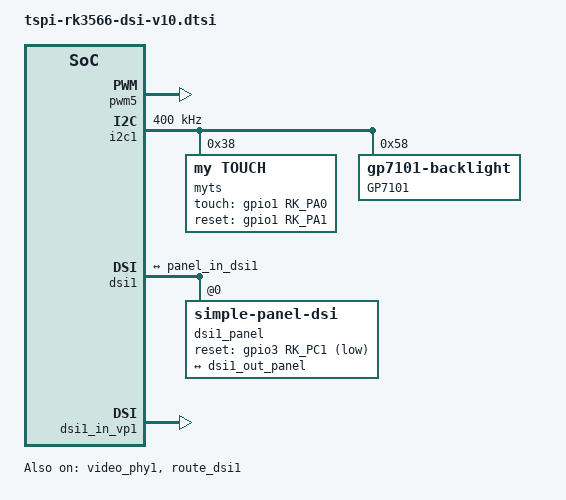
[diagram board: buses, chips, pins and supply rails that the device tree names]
// SPDX-License-Identifier: (GPL-2.0+ OR MIT)
/*
 * Copyright (c) 2020 Rockchip Electronics Co., Ltd.
 *
 */

/ {
	/*backlight: backlight {
		compatible = "pwm-backlight";
		pwms = <&pwm5 0 25000 0>;
		brightness-levels = <
			  0  20  20  21  21  22  22  23
			 23  24  24  25  25  26  26  27
			 27  28  28  29  29  30  30  31
			 31  32  32  33  33  34  34  35
			 35  36  36  37  37  38  38  39
			 40  41  42  43  44  45  46  47
			 48  49  50  51  52  53  54  55
			 56  57  58  59  60  61  62  63
			 64  65  66  67  68  69  70  71
			 72  73  74  75  76  77  78  79
			 80  81  82  83  84  85  86  87
			 88  89  90  91  92  93  94  95
			 96  97  98  99 100 101 102 103
			104 105 106 107 108 109 110 111
			112 113 114 115 116 117 118 119
			120 121 122 123 124 125 126 127
			128 129 130 131 132 133 134 135
			136 137 138 139 140 141 142 143
			144 145 146 147 148 149 150 151
			152 153 154 155 156 157 158 159
			160 161 162 163 164 165 166 167
			168 169 170 171 172 173 174 175
			176 177 178 179 180 181 182 183
			184 185 186 187 188 189 190 191
			192 193 194 195 196 197 198 199
			200 201 202 203 204 205 206 207
			208 209 210 211 212 213 214 215
			216 217 218 219 220 221 222 223
			224 225 226 227 228 229 230 231
			232 233 234 235 236 237 238 239
			240 241 242 243 244 245 246 247
			248 249 250 251 252 253 254 255
		>;
		default-brightness-level = <255>;
	}; */
};

&pwm5 {
	status = "okay";
};

// &i2c1 {
// 	status = "okay";
// 	ts@5d {
// 		compatible = "goodix,gt9xx";
// 		reg = <0x5d>;
// 		tp-size = <89>;
// 		max-x = <1280>;
// 		max-y = <800>;
// 		touch-gpio = <&gpio1 RK_PA0 IRQ_TYPE_LEVEL_LOW>;
// 		reset-gpio = <&gpio1 RK_PA1 IRQ_TYPE_LEVEL_LOW>;
// 	};
// };
&i2c1 {
	status = "okay";             // 表示这个i2c1设备是可用的
    clock-frequency = <400000>;  // 设置i2c1的时钟频率为400kHz
    myts@38 {                    // 定义一个i2c设备，设备地址为0x38，设备名称为myts
        compatible = "my,touch"; // 表示这个设备是触摸屏设备，驱动名称为my,touch
        reg = <0x38>;            // i2c设备地址
        tp-size = <89>;          // 触摸屏的大小
        max-x = <480>;           // 触摸屏支持的最大X坐标值
        max-y = <800>;           // 触摸屏支持的最大Y坐标值
        touch-gpio = <&gpio1 RK_PA0 IRQ_TYPE_LEVEL_LOW>; // 触摸屏的触摸中断引脚，连接到gpio1的第0个引脚，触发方式为低电平触发
        reset-gpio = <&gpio1 RK_PA1 GPIO_ACTIVE_HIGH>;   // 触摸屏的复位引脚，连接到gpio1的第1个引脚，有效电平为高电平
    };

	GP7101@58 {      // 定义一个子节点，名字为GP7101，地址为58
		compatible = "gp7101-backlight";   // 该节点与"gp7101-backlight"兼容
		reg = <0x58>;                      // GP7101地址0x58
		max-brightness-levels = <255>;     // 背光亮度的最大级别是255
		default-brightness-level = <100>;  // 默认的背光亮度级别是100
	};
};

&pinctrl {
	dsi1 {
		dsi1_rst_gpio: dsi1-rst-gpio {
			rockchip,pins = <3 RK_PC1 RK_FUNC_GPIO &pcfg_pull_none>;
		};
		touch_gpio: touch-gpio {
			rockchip,pins = <1 RK_PA0 RK_FUNC_GPIO &pcfg_pull_up>;
		};
	};
};

/*
 * video_phy1 needs to be enabled
 * when dsi1 is enabled
 */
&dsi1 {
	status = "okay";
};

&dsi1_in_vp0 {
	status = "disabled";
};

&dsi1_in_vp1 {
	status = "okay";
};

&video_phy1 {
	status = "okay";
};

&route_dsi1 {
	status = "okay";//wucaicheng mipi okay
	connect = <&vp1_out_dsi1>;
};

/************************************************************************************************************************************************
10寸晶尚
默认 8寸800x1280
************************************************************************************************************************************************/
// &dsi1 {
// 	status = "okay";
// 	rockchip,lane-rate = <480>;
// 	dsi1_panel: panel@0 {
// 		status = "okay";
// 		compatible = "simple-panel-dsi";
// 		reset-gpios = <&gpio3 RK_PC1 GPIO_ACTIVE_LOW>;
// 		pinctrl-names = "default";
// 		pinctrl-0 = <&dsi1_rst_gpio>;
// 		reg = <0>;
// 		backlight = <&backlight>;
// 		reset-delay-ms = <10>;
// 		enable-delay-ms = <120>;
// 		prepare-delay-ms = <20>;
// 		unprepare-delay-ms = <20>;
// 		disable-delay-ms = <50>;
// 		dsi,flags = <(MIPI_DSI_MODE_VIDEO | MIPI_DSI_MODE_VIDEO_BURST |
// 			MIPI_DSI_MODE_LPM | MIPI_DSI_MODE_EOT_PACKET)>;
// 		dsi,format = <MIPI_DSI_FMT_RGB888>;
// 		dsi,lanes  = <4>;
// 		panel-init-sequence = [
// 			15 00 02 E0 00
// 			15 00 02 E1 93
// 			15 00 02 E2 65
// 			15 00 02 E3 F8
// 			15 00 02 80 03
// 			15 00 02 E0 01
// 			15 00 02 00 00
// 			15 00 02 01 3C
// 			15 00 02 03 10
// 			15 00 02 04 38
// 			15 00 02 0C 74
// 			15 00 02 17 00
// 			15 00 02 18 E7
// 			15 00 02 19 01
// 			15 00 02 1A 00
// 			15 00 02 1B E7
// 			15 00 02 1C 01
// 			15 00 02 24 FE
// 			15 00 02 35 23
// 			15 00 02 37 09
// 			15 00 02 38 04
// 			15 00 02 39 00
// 			15 00 02 3A 01
// 			15 00 02 3C 70
// 			15 00 02 3D FF
// 			15 00 02 3E FF
// 			15 00 02 3F 7F
// 			15 00 02 40 06
// 			15 00 02 41 A0
// 			15 00 02 43 1E
// 			15 00 02 44 0B
// 			15 00 02 45 28
// 			15 00 02 55 02
// 			15 00 02 57 A9
// 			15 00 02 59 0A
// 			15 00 02 5A 2D
// 			15 00 02 5B 19
// 			15 00 02 5C 15
// 			15 00 02 5D 7F
// 			15 00 02 5E 6E
// 			15 00 02 5F 5F
// 			15 00 02 60 53
// 			15 00 02 61 50
// 			15 00 02 62 41
// 			15 00 02 63 44
// 			15 00 02 64 2C
// 			15 00 02 65 44
// 			15 00 02 66 42
// 			15 00 02 67 40
// 			15 00 02 68 5B
// 			15 00 02 69 45
// 			15 00 02 6A 48
// 			15 00 02 6B 38
// 			15 00 02 6C 32
// 			15 00 02 6D 25
// 			15 00 02 6E 14
// 			15 00 02 6F 08
// 			15 00 02 70 7F
// 			15 00 02 71 6E
// 			15 00 02 72 5F
// 			15 00 02 73 53
// 			15 00 02 74 50
// 			15 00 02 75 41
// 			15 00 02 76 44
// 			15 00 02 77 2C
// 			15 00 02 78 44
// 			15 00 02 79 42
// 			15 00 02 7A 40
// 			15 00 02 7B 5B
// 			15 00 02 7C 45
// 			15 00 02 7D 48
// 			15 00 02 7E 38
// 			15 00 02 7F 32
// 			15 00 02 80 25
// 			15 00 02 81 14
// 			15 00 02 82 08
// 			15 00 02 E0 02
// 			15 00 02 00 50
// 			15 00 02 01 5F
// 			15 00 02 02 5F
// 			15 00 02 03 52
// 			15 00 02 04 77
// 			15 00 02 05 57
// 			15 00 02 06 5F
// 			15 00 02 07 4E
// 			15 00 02 08 4C
// 			15 00 02 09 5F
// 			15 00 02 0A 4A
// 			15 00 02 0B 48
// 			15 00 02 0C 5F
// 			15 00 02 0D 46
// 			15 00 02 0E 44
// 			15 00 02 0F 40
// 			15 00 02 10 5F
// 			15 00 02 11 5F
// 			15 00 02 12 5F
// 			15 00 02 13 5F
// 			15 00 02 14 5F
// 			15 00 02 15 5F
// 			15 00 02 16 51
// 			15 00 02 17 5F
// 			15 00 02 18 5F
// 			15 00 02 19 53
// 			15 00 02 1A 77
// 			15 00 02 1B 57
// 			15 00 02 1C 5F
// 			15 00 02 1D 4F
// 			15 00 02 1E 4D
// 			15 00 02 1F 5F
// 			15 00 02 20 4B
// 			15 00 02 21 49
// 			15 00 02 22 5F
// 			15 00 02 23 47
// 			15 00 02 24 45
// 			15 00 02 25 41
// 			15 00 02 26 5F
// 			15 00 02 27 5F
// 			15 00 02 28 5F
// 			15 00 02 29 5F
// 			15 00 02 2A 5F
// 			15 00 02 2B 5F
// 			15 00 02 2C 01
// 			15 00 02 2D 1F
// 			15 00 02 2E 1F
// 			15 00 02 2F 13
// 			15 00 02 30 17
// 			15 00 02 31 17
// 			15 00 02 32 1F
// 			15 00 02 33 0D
// 			15 00 02 34 0F
// 			15 00 02 35 1F
// 			15 00 02 36 05
// 			15 00 02 37 07
// 			15 00 02 38 1F
// 			15 00 02 39 09
// 			15 00 02 3A 0B
// 			15 00 02 3B 11
// 			15 00 02 3C 1F
// 			15 00 02 3D 1F
// 			15 00 02 3E 1F
// 			15 00 02 3F 1F
// 			15 00 02 40 1F
// 			15 00 02 41 1F
// 			15 00 02 42 00
// 			15 00 02 43 1F
// 			15 00 02 44 1F
// 			15 00 02 45 12
// 			15 00 02 46 17
// 			15 00 02 47 17
// 			15 00 02 48 1F
// 			15 00 02 49 0C
// 			15 00 02 4A 0E
// 			15 00 02 4B 1F
// 			15 00 02 4C 04
// 			15 00 02 4D 06
// 			15 00 02 4E 1F
// 			15 00 02 4F 08
// 			15 00 02 50 0A
// 			15 00 02 51 10
// 			15 00 02 52 1F
// 			15 00 02 53 1F
// 			15 00 02 54 1F
// 			15 00 02 55 1F
// 			15 00 02 56 1F
// 			15 00 02 57 1F
// 			15 00 02 58 40
// 			15 00 02 5B 10
// 			15 00 02 5C 06
// 			15 00 02 5D 40
// 			15 00 02 5E 00
// 			15 00 02 5F 00
// 			15 00 02 60 40
// 			15 00 02 61 03
// 			15 00 02 62 04
// 			15 00 02 63 6C
// 			15 00 02 64 6C
// 			15 00 02 65 75
// 			15 00 02 66 08
// 			15 00 02 67 B4
// 			15 00 02 68 08
// 			15 00 02 69 6C
// 			15 00 02 6A 6C
// 			15 00 02 6B 0C
// 			15 00 02 6D 00
// 			15 00 02 6E 00
// 			15 00 02 6F 88
// 			15 00 02 75 BB
// 			15 00 02 76 00
// 			15 00 02 77 05
// 			15 00 02 78 2A
// 			15 00 02 E0 04
// 			15 00 02 00 0E
// 			15 00 02 02 B3
// 			15 00 02 09 60
// 			15 00 02 0E 48
// 			15 00 02 E0 00
// 			05 fa 01 11
// 			05 32 01 29
// 		];

// 		panel-exit-sequence = [
// 			05 00 01 28
// 			05 00 01 10
// 		];

// 		disp_timings1: display-timings {
// 			native-mode = <&dsi1_timing0>;
// 			dsi1_timing0: timing0 {
// 				clock-frequency = <66000000>;
// 				hactive = <800>;
// 				vactive = <1280>;
// 				hfront-porch = <18>;
// 				hsync-len = <12>;
// 				hback-porch = <18>;
// 				vfront-porch = <24>;
// 				vsync-len = <4>;
// 				vback-porch = <12>;
// 				hsync-active = <0>;
// 				vsync-active = <0>;
// 				de-active = <0>;
// 				pixelclk-active = <1>;
// 			};
// 		};

// 		ports {
// 			#address-cells = <1>;
// 			#size-cells = <0>;

// 			port@0 {
// 				reg = <0>;
// 				panel_in_dsi1: endpoint {
// 					remote-endpoint = <&dsi1_out_panel>;
// 				};
// 			};
// 		};
// 	};

// 	ports {
// 		#address-cells = <1>;
// 		#size-cells = <0>;

// 		port@1 {
// 			reg = <1>;
// 			dsi1_out_panel: endpoint {
// 				remote-endpoint = <&panel_in_dsi1>;
// 			};
// 		};
// 	};

// };

/************************************************************************************************************************************************
10寸晶尚
默认 10.1寸1200x1920
************************************************************************************************************************************************/
// &dsi1 {
// 	status = "okay";
// 	rockchip,lane-rate = <1000>;
// 	dsi1_panel: panel@0 {
// 		status = "okay";
// 		compatible = "simple-panel-dsi";
// 		reset-gpios = <&gpio3 RK_PC1 GPIO_ACTIVE_LOW>;
// 		pinctrl-names = "default";
// 		pinctrl-0 = <&dsi1_rst_gpio>;
// 		reg = <0>;
// 		backlight = <&backlight>;
// 		reset-delay-ms = <100>;
// 		enable-delay-ms = <120>;
// 		prepare-delay-ms = <20>;
// 		unprepare-delay-ms = <20>;
// 		disable-delay-ms = <100>;
// 		dsi,flags = <(MIPI_DSI_MODE_VIDEO | MIPI_DSI_MODE_VIDEO_BURST |
// 			MIPI_DSI_MODE_LPM | MIPI_DSI_MODE_EOT_PACKET)>;
// 		dsi,format = <MIPI_DSI_FMT_RGB888>;
// 		dsi,lanes  = <4>;
// 		panel-init-sequence = [
// 			15 00 02 B0 01
// 			15 00 02 C3 4F
// 			15 00 02 C4 40
// 			15 00 02 C5 40
// 			15 00 02 C6 40
// 			15 00 02 C7 40
// 			15 00 02 C8 4D
// 			15 00 02 C9 52
// 			15 00 02 CA 51
// 			15 00 02 CD 5D
// 			15 00 02 CE 5B
// 			15 00 02 CF 4B
// 			15 00 02 D0 49
// 			15 00 02 D1 47
// 			15 00 02 D2 45
// 			15 00 02 D3 41
// 			15 00 02 D7 50
// 			15 00 02 D8 40
// 			15 00 02 D9 40
// 			15 00 02 DA 40
// 			15 00 02 DB 40
// 			15 00 02 DC 4E
// 			15 00 02 DD 52
// 			15 00 02 DE 51
// 			15 00 02 E1 5E
// 			15 00 02 E2 5C
// 			15 00 02 E3 4C
// 			15 00 02 E4 4A
// 			15 00 02 E5 48
// 			15 00 02 E6 46
// 			15 00 02 E7 42
// 			15 00 02 B0 03
// 			15 00 02 BE 03
// 			15 00 02 CC 44
// 			15 00 02 C8 07
// 			15 00 02 C9 05
// 			15 00 02 CA 42
// 			15 00 02 CD 3E
// 			15 00 02 CF 60
// 			15 00 02 D2 04
// 			15 00 02 D3 04
// 			15 00 02 D4 01
// 			15 00 02 D5 00
// 			15 00 02 D6 03
// 			15 00 02 D7 04
// 			15 00 02 D9 01
// 			15 00 02 DB 01
// 			15 00 02 E4 F0
// 			15 00 02 E5 0A
// 			15 00 02 B0 00
// 			15 00 02 B1 08
// 			15 00 02 BD 54
// 			15 00 02 C2 06
// 			15 00 02 C4 0B
// 			15 00 02 B0 02
// 			15 00 02 C0 00
// 			15 00 02 C1 0A
// 			15 00 02 C2 20
// 			15 00 02 C3 24
// 			15 00 02 C4 23
// 			15 00 02 C5 29
// 			15 00 02 C6 23
// 			15 00 02 C7 1C
// 			15 00 02 C8 19
// 			15 00 02 C9 17
// 			15 00 02 CA 17
// 			15 00 02 CB 18
// 			15 00 02 CC 1A
// 			15 00 02 CD 1E
// 			15 00 02 CE 20
// 			15 00 02 CF 23
// 			15 00 02 D0 07
// 			15 00 02 D1 00
// 			15 00 02 D2 00
// 			15 00 02 D3 0A
// 			15 00 02 D4 13
// 			15 00 02 D5 1C
// 			15 00 02 D6 1A
// 			15 00 02 D7 13
// 			15 00 02 D8 17
// 			15 00 02 D9 1C
// 			15 00 02 DA 19
// 			15 00 02 DB 17
// 			15 00 02 DC 17
// 			15 00 02 DD 18
// 			15 00 02 DE 1A
// 			15 00 02 DF 1E
// 			15 00 02 E0 20
// 			15 00 02 E1 23
// 			15 00 02 E2 07
// 			05 78 01 11
// 			05 14 01 29
// 		];

// 		panel-exit-sequence = [
// 			05 00 01 28
// 			05 00 01 10
// 		];

// 		disp_timings1: display-timings {
// 			native-mode = <&dsi1_timing0>;
// 			dsi1_timing0: timing0 {
// 				clock-frequency = <156000000>;
// 				hactive = <1200 >;
// 				vactive = <1920>;
// 				hfront-porch = <42>;
// 				hsync-len = <10>;
// 				hback-porch = <32>;
// 				vfront-porch = <35>;
// 				vsync-len = <4>;
// 				vback-porch = <30>;
// 				hsync-active = <0>;
// 				vsync-active = <0>;
// 				de-active = <0>;
// 				pixelclk-active = <0>;
// 			};
// 		};

// 		ports {
// 			#address-cells = <1>;
// 			#size-cells = <0>;

// 			port@0 {
// 				reg = <0>;
// 				panel_in_dsi1: endpoint {
// 					remote-endpoint = <&dsi1_out_panel>;
// 				};
// 			};
// 		};
// 	};

// 	ports {
// 		#address-cells = <1>;
// 		#size-cells = <0>;

// 		port@1 {
// 			reg = <1>;
// 			dsi1_out_panel: endpoint {
// 				remote-endpoint = <&panel_in_dsi1>;
// 			};
// 		};
// 	};

// };

// /************************************************************************************************************************************************
// 10寸晶尚
// 默认 8寸800x1280
// ************************************************************************************************************************************************/
// &dsi1 {
// 	status = "okay";
// 	rockchip,lane-rate = <500>;
// 	dsi1_panel: panel@0 {
// 		status = "okay";
// 		compatible = "simple-panel-dsi";
// 		reset-gpios = <&gpio3 RK_PC1 GPIO_ACTIVE_LOW>;
// 		pinctrl-names = "default";
// 		pinctrl-0 = <&dsi1_rst_gpio>;
// 		reg = <0>;
// 		backlight = <&backlight>;
// 		reset-delay-ms = <30>;
// 		enable-delay-ms = <100>;
// 		prepare-delay-ms = <20>;
// 		unprepare-delay-ms = <20>;
// 		disable-delay-ms = <20>;
// 		init-delay-ms = <10>;
// 		dsi,flags = <(MIPI_DSI_MODE_VIDEO | MIPI_DSI_MODE_VIDEO_BURST |
// 			MIPI_DSI_MODE_LPM | MIPI_DSI_MODE_EOT_PACKET)>;
// 		dsi,format = <MIPI_DSI_FMT_RGB888>;
// 		dsi,lanes  = <4>;
// 		panel-init-sequence = [
// 			39 00 04 FF 98 81 03
// 			15 00 02 01 00
// 			15 00 02 02 00
// 			15 00 02 03 53    
// 			15 00 02 04 53    
// 			15 00 02 05 13
// 			15 00 02 06 04
// 			15 00 02 07 02
// 			15 00 02 08 02
// 			15 00 02 09 00
// 			15 00 02 0a 00
// 			15 00 02 0b 00
// 			15 00 02 0c 00
// 			15 00 02 0d 00
// 			15 00 02 0e 00
// 			15 00 02 0f 00
// 			15 00 02 10 00
// 			15 00 02 11 00
// 			15 00 02 12 00
// 			15 00 02 13 00
// 			15 00 02 14 00
// 			15 00 02 15 00
// 			15 00 02 16 00
// 			15 00 02 17 00
// 			15 00 02 18 00
// 			15 00 02 19 00
// 			15 00 02 1a 00
// 			15 00 02 1b 00
// 			15 00 02 1c 00
// 			15 00 02 1d 00
// 			15 00 02 1e c0
// 			15 00 02 1f 00
// 			15 00 02 20 02
// 			15 00 02 21 09
// 			15 00 02 22 00
// 			15 00 02 23 00
// 			15 00 02 24 00
// 			15 00 02 25 00
// 			15 00 02 26 00
// 			15 00 02 27 00
// 			15 00 02 28 55
// 			15 00 02 29 03
// 			15 00 02 2a 00
// 			15 00 02 2b 00
// 			15 00 02 2c 00
// 			15 00 02 2d 00
// 			15 00 02 2e 00
// 			15 00 02 2f 00
// 			15 00 02 30 00
// 			15 00 02 31 00
// 			15 00 02 32 00
// 			15 00 02 33 00
// 			15 00 02 34 00
// 			15 00 02 35 00
// 			15 00 02 36 00
// 			15 00 02 37 00
// 			15 00 02 38 3C
// 			15 00 02 39 00
// 			15 00 02 3a 00
// 			15 00 02 3b 00
// 			15 00 02 3c 00
// 			15 00 02 3d 00
// 			15 00 02 3e 00
// 			15 00 02 3f 00
// 			15 00 02 40 00
// 			15 00 02 41 00
// 			15 00 02 42 00
// 			15 00 02 43 00
// 			15 00 02 44 00
			
// 			15 00 02 50 01
// 			15 00 02 51 23
// 			15 00 02 52 45
// 			15 00 02 53 67
// 			15 00 02 54 89
// 			15 00 02 55 ab
// 			15 00 02 56 01
// 			15 00 02 57 23
// 			15 00 02 58 45
// 			15 00 02 59 67
// 			15 00 02 5a 89
// 			15 00 02 5b ab
// 			15 00 02 5c cd
// 			15 00 02 5d ef

// 			15 00 02 5e 01
// 			15 00 02 5f 0A    
// 			15 00 02 60 02    
// 			15 00 02 61 02    
// 			15 00 02 62 08    
// 			15 00 02 63 15    
// 			15 00 02 64 14    
// 			15 00 02 65 02    
// 			15 00 02 66 11    
// 			15 00 02 67 10    
// 			15 00 02 68 02    
// 			15 00 02 69 0F    
// 			15 00 02 6a 0E    
// 			15 00 02 6b 02    
// 			15 00 02 6c 0D    
// 			15 00 02 6d 0C    
// 			15 00 02 6e 06    
// 			15 00 02 6f 02    
// 			15 00 02 70 02    
// 			15 00 02 71 02    
// 			15 00 02 72 02    
// 			15 00 02 73 02    
// 			15 00 02 74 02    
			
// 			15 00 02 75 0A    
// 			15 00 02 76 02    
// 			15 00 02 77 02    
// 			15 00 02 78 06    
// 			15 00 02 79 15    
// 			15 00 02 7a 14    
// 			15 00 02 7b 02    
// 			15 00 02 7c 10    
// 			15 00 02 7d 11    
// 			15 00 02 7e 02    
// 			15 00 02 7f 0C    
// 			15 00 02 80 0D    
// 			15 00 02 81 02    
// 			15 00 02 82 0E    
// 			15 00 02 83 0F    
// 			15 00 02 84 08    
// 			15 00 02 85 02    
// 			15 00 02 86 02    
// 			15 00 02 87 02    
// 			15 00 02 88 02    
// 			15 00 02 89 02    
// 			15 00 02 8A 02    


// 			39 00 04 FF 98 81 04
// 			//15 00 02 00 00  //
// 			// 15 00 02 2F 01   //bist 用户调试，屏幕会闪演示测试
// 			15 00 02 3B C0  
// 			15 00 02 6C 15
// 			15 00 02 6E 30  
// 			15 00 02 6F 55  
// 			15 00 02 3A 24
// 			15 00 02 8D 1F
// 			15 00 02 87 BA
// 			15 00 02 26 76
// 			15 00 02 B2 D1
// 			15 00 02 B5 07
// 			15 00 02 35 1F
// 			15 00 02 88 0B
// 			15 00 02 21 09


// 			39 00 04 FF 98 81 01
// 			15 00 02 22 0A
// 			15 00 02 31 09
// 			15 00 02 40 33
// 			15 00 02 53 37
// 			15 00 02 55 38
// 			15 00 02 50 95
// 			15 00 02 51 95
// 			15 00 02 60 30

// 			15 00 02 A0 0F        
// 			15 00 02 A1 17        
// 			15 00 02 A2 22        
// 			15 00 02 A3 19        
// 			15 00 02 A4 15        
// 			15 00 02 A5 28        
// 			15 00 02 A6 1C        
// 			15 00 02 A7 1C        
// 			15 00 02 A8 78        
// 			15 00 02 A9 1C        
// 			15 00 02 AA 28        
// 			15 00 02 AB 69        
// 			15 00 02 AC 1A        
// 			15 00 02 AD 19        
// 			15 00 02 AE 4B        
// 			15 00 02 AF 22        
// 			15 00 02 B0 2A        
// 			15 00 02 B1 4B        
// 			15 00 02 B2 6B        
// 			15 00 02 B3 3F        

// 			15 00 02 C0 01        
// 			15 00 02 C1 17        
// 			15 00 02 C2 22        
// 			15 00 02 C3 19        
// 			15 00 02 C4 15        
// 			15 00 02 C5 28        
// 			15 00 02 C6 1C        
// 			15 00 02 C7 1D        
// 			15 00 02 C8 78        
// 			15 00 02 C9 1C        
// 			15 00 02 CA 28        
// 			15 00 02 CB 69        
// 			15 00 02 CC 1A        
// 			15 00 02 CD 19        
// 			15 00 02 CE 4B        
// 			15 00 02 CF 22        
// 			15 00 02 D0 2A        
// 			15 00 02 D1 4B        
// 			15 00 02 D2 6B        
// 			15 00 02 D3 3F        
// 			39 00 04 FF 98 81 00		
// 			05 78 01 11
// 			05 14 01 29
// 		];

// 		panel-exit-sequence = [
// 			05 00 01 28
// 			05 00 01 10
// 		];

// 		disp_timings1: display-timings {
// 			native-mode = <&dsi1_timing0>;
// 			dsi1_timing0: timing0 {
// 				clock-frequency = <71000000>;
// 				hactive = <800>;
// 				vactive = <1280>;
// 				hfront-porch = <52>;
// 				hsync-len = <8>;
// 				hback-porch = <48>;
// 				vfront-porch = <15>;
// 				vsync-len = <6>;
// 				vback-porch = <16>;
// 				hsync-active = <0>;
// 				vsync-active = <0>;
// 				de-active = <0>;
// 				pixelclk-active = <0>;
// 			};
// 		};

// 		ports {
// 			#address-cells = <1>;
// 			#size-cells = <0>;

// 			port@0 {
// 				reg = <0>;
// 				panel_in_dsi1: endpoint {
// 					remote-endpoint = <&dsi1_out_panel>;
// 				};
// 			};
// 		};
// 	};

// 	ports {
// 		#address-cells = <1>;
// 		#size-cells = <0>;

// 		port@1 {
// 			reg = <1>;
// 			dsi1_out_panel: endpoint {
// 				remote-endpoint = <&panel_in_dsi1>;
// 			};
// 		};
// 	};

// };

// /************************************************************************************************************************************************
// 贝力佳屏幕
// 默认 8寸800x1280
// ************************************************************************************************************************************************/
// &dsi1 {
// 	status = "okay";
// 	rockchip,lane-rate = <500>;
// 	dsi1_panel: panel@0 {
// 		status = "okay";
// 		compatible = "simple-panel-dsi";
// 		reset-gpios = <&gpio3 RK_PC1 GPIO_ACTIVE_LOW>;
// 		pinctrl-names = "default";
// 		pinctrl-0 = <&dsi1_rst_gpio>;
// 		reg = <0>;
// 		backlight = <&backlight>;
// 		reset-delay-ms = <30>;
// 		enable-delay-ms = <100>;
// 		prepare-delay-ms = <20>;
// 		unprepare-delay-ms = <20>;
// 		disable-delay-ms = <20>;
// 		init-delay-ms = <10>;
// 		dsi,flags = <(MIPI_DSI_MODE_VIDEO | MIPI_DSI_MODE_VIDEO_BURST |
// 			MIPI_DSI_MODE_LPM | MIPI_DSI_MODE_EOT_PACKET)>;
// 		dsi,format = <MIPI_DSI_FMT_RGB888>;
// 		dsi,lanes  = <4>;
// 		panel-init-sequence = [
// 			39 00 04 FF 98 81 03     
// 			15 00 02 01 00
// 			15 00 02 02 00
// 			15 00 02 03 53
// 			15 00 02 04 13
// 			15 00 02 05 00
// 			15 00 02 06 04
// 			15 00 02 07 00
// 			15 00 02 08 00
// 			15 00 02 09 22
// 			15 00 02 0a 22
// 			15 00 02 0b 00
// 			15 00 02 0c 01
// 			15 00 02 0d 00
// 			15 00 02 0e 00
// 			15 00 02 0f 25
// 			15 00 02 10 25
// 			15 00 02 11 00
// 			15 00 02 12 00
// 			15 00 02 13 00
// 			15 00 02 14 00
// 			15 00 02 15 00
// 			15 00 02 16 00
// 			15 00 02 17 00
// 			15 00 02 18 00
// 			15 00 02 19 00
// 			15 00 02 1a 00
// 			15 00 02 1b 00
// 			15 00 02 1c 00
// 			15 00 02 1d 00
// 			15 00 02 1e 44
// 			15 00 02 1f 80
// 			15 00 02 20 02
// 			15 00 02 21 03
// 			15 00 02 22 00
// 			15 00 02 23 00
// 			15 00 02 24 00
// 			15 00 02 25 00
// 			15 00 02 26 00
// 			15 00 02 27 00
// 			15 00 02 28 33
// 			15 00 02 29 03
// 			15 00 02 2a 00
// 			15 00 02 2b 00
// 			15 00 02 2c 00
// 			15 00 02 2d 00
// 			15 00 02 2e 00
// 			15 00 02 2f 00
// 			15 00 02 30 00
// 			15 00 02 31 00
// 			15 00 02 32 00
// 			15 00 02 33 00
// 			15 00 02 34 04
// 			15 00 02 35 00
// 			15 00 02 36 00
// 			15 00 02 37 00
// 			15 00 02 38 3C
// 			15 00 02 39 00
// 			15 00 02 3a 40
// 			15 00 02 3b 40
// 			15 00 02 3c 00
// 			15 00 02 3d 00
// 			15 00 02 3e 00
// 			15 00 02 3f 00
// 			15 00 02 40 00
// 			15 00 02 41 00
// 			15 00 02 42 00
// 			15 00 02 43 00
// 			15 00 02 44 00
							
// 			15 00 02 50 01
// 			15 00 02 51 23
// 			15 00 02 52 45
// 			15 00 02 53 67
// 			15 00 02 54 89
// 			15 00 02 55 ab
// 			15 00 02 56 01
// 			15 00 02 57 23
// 			15 00 02 58 45
// 			15 00 02 59 67
// 			15 00 02 5a 89
// 			15 00 02 5b ab
// 			15 00 02 5c cd
// 			15 00 02 5d ef
							
// 			15 00 02 5e 11

// 			15 00 02 5f 01
// 			15 00 02 60 00
// 			15 00 02 61 15
// 			15 00 02 62 14
// 			15 00 02 63 0C
// 			15 00 02 64 0D
// 			15 00 02 65 0E
// 			15 00 02 66 0F
// 			15 00 02 67 06
// 			15 00 02 68 02
// 			15 00 02 69 02
// 			15 00 02 6a 02
// 			15 00 02 6b 02
// 			15 00 02 6c 02
// 			15 00 02 6d 02
// 			15 00 02 6e 08
// 			15 00 02 6f 02
// 			15 00 02 70 02
// 			15 00 02 71 02
// 			15 00 02 72 02
// 			15 00 02 73 02
// 			15 00 02 74 02
														
// 			15 00 02 75 01
// 			15 00 02 76 00
// 			15 00 02 77 15
// 			15 00 02 78 14
// 			15 00 02 79 0C
// 			15 00 02 7a 0D
// 			15 00 02 7b 0E
// 			15 00 02 7c 0F
// 			15 00 02 7D 08
// 			15 00 02 7E 02
// 			15 00 02 7F 02
// 			15 00 02 80 02
// 			15 00 02 81 02
// 			15 00 02 82 02
// 			15 00 02 83 02
// 			15 00 02 84 06
// 			15 00 02 85 02
// 			15 00 02 86 02
// 			15 00 02 87 02
// 			15 00 02 88 02
// 			15 00 02 89 02
// 			15 00 02 8A 02

// 			39 00 04 FF 98 81 04
// 			15 00 02 6C 15
// 			15 00 02 6E 3B
// 			15 00 02 6F 55
// 			//       15 00 02 3A 14
// 			15 00 02 8D 14
// 			15 00 02 87 BA
// 			15 00 02 26 76
// 			15 00 02 B2 D1
// 			15 00 02 3B 98
// 			15 00 02 35 1f
// 			15 00 02 3A 24
// 			15 00 02 B5 27
// 			15 00 02 31 75
// 			15 00 02 30 03
// 			15 00 02 33 14
// 			15 00 02 38 02
// 			15 00 02 39 00
// 			15 00 02 7A 10

// 			// 15 00 02 2F 01     //开bist模式 检测gIP和ic有没有问题

// 			39 00 04 FF 98 81 01
// 			15 00 02 22 0A
// 			15 00 02 31 0A
// 			15 00 02 50 AE
// 			15 00 02 51 A9
// 			15 00 02 60 1F
// 			15 00 02 62 07
// 			15 00 02 63 00

// 			15 00 02 52 00
// 			15 00 02 53 56
// 			15 00 02 54 00
// 			15 00 02 55 59

// 			15 00 02 A0 08
// 			15 00 02 A1 20
// 			15 00 02 A2 2D
// 			15 00 02 A3 13
// 			15 00 02 A4 16
// 			15 00 02 A5 29
// 			15 00 02 A6 1D
// 			15 00 02 A7 1E
// 			15 00 02 A8 77
// 			15 00 02 A9 17
// 			15 00 02 AA 24
// 			15 00 02 AB 6A
// 			15 00 02 AC 22
// 			15 00 02 AD 24
// 			15 00 02 AE 5A
// 			15 00 02 AF 2B
// 			15 00 02 B0 2C
// 			15 00 02 B1 4D
// 			15 00 02 B2 6F
// 			15 00 02 B3 3F

// 			15 00 02 C0 08
// 			15 00 02 C1 1E
// 			15 00 02 C2 2B
// 			15 00 02 C3 13
// 			15 00 02 C4 16
// 			15 00 02 C5 28
// 			15 00 02 C6 1A
// 			15 00 02 C7 1D
// 			15 00 02 C8 75
// 			15 00 02 C9 18
// 			15 00 02 CA 25
// 			15 00 02 CB 71
// 			15 00 02 CC 23
// 			15 00 02 CD 28
// 			15 00 02 CE 59
// 			15 00 02 CF 2C
// 			15 00 02 D0 30
// 			15 00 02 D1 55
// 			15 00 02 D2 6B
// 			15 00 02 D3 3F

// 			//CMD_Page 0
// 			39 00 04 FF 98 81 00
// 			15 00 02 35 00 				      
// 			05 78 01 11           
// 			05 14 01 29
// 		];

// 		panel-exit-sequence = [
// 			05 00 01 28
// 			05 00 01 10
// 		];

// 		disp_timings1: display-timings {
// 			native-mode = <&dsi1_timing0>;
// 			dsi1_timing0: timing0 {
// 				clock-frequency = <71000000>;
// 				hactive = <800>;
// 				vactive = <1280>;
// 				hfront-porch = <52>;
// 				hsync-len = <8>;
// 				hback-porch = <48>;
// 				vfront-porch = <15>;
// 				vsync-len = <6>;
// 				vback-porch = <16>;
// 				hsync-active = <0>;
// 				vsync-active = <0>;
// 				de-active = <0>;
// 				pixelclk-active = <0>;
// 			};
// 		};

// 		ports {
// 			#address-cells = <1>;
// 			#size-cells = <0>;

// 			port@0 {
// 				reg = <0>;
// 				panel_in_dsi1: endpoint {
// 					remote-endpoint = <&dsi1_out_panel>;
// 				};
// 			};
// 		};
// 	};

// 	ports {
// 		#address-cells = <1>;
// 		#size-cells = <0>;

// 		port@1 {
// 			reg = <1>;
// 			dsi1_out_panel: endpoint {
// 				remote-endpoint = <&panel_in_dsi1>;
// 			};
// 		};
// 	};

// };


/************************************************************************************************************************************************
贝力佳屏幕
默认 5寸
************************************************************************************************************************************************/
&dsi1 {
	status = "okay";
	rockchip,lane-rate = <1000>;
	dsi1_panel: panel@0 {
		status = "okay";
		compatible = "simple-panel-dsi";
		reset-gpios = <&gpio3 RK_PC1 GPIO_ACTIVE_LOW>;
		pinctrl-names = "default";
		pinctrl-0 = <&dsi1_rst_gpio>;
		reg = <0>;
		// backlight = <&backlight>;
		reset-delay-ms = <30>;
		enable-delay-ms = <100>;
		prepare-delay-ms = <20>;
		unprepare-delay-ms = <20>;
		disable-delay-ms = <20>;
		init-delay-ms = <120>;
		dsi,flags = <(MIPI_DSI_MODE_VIDEO | MIPI_DSI_MODE_VIDEO_BURST |
			MIPI_DSI_MODE_LPM | MIPI_DSI_MODE_EOT_PACKET)>;
		dsi,format = <MIPI_DSI_FMT_RGB888>;
		dsi,lanes  = <2>;
		panel-init-sequence = [
			// init code
			05 78 01 01
			05 78 01 11
			39 00 06 FF 77 01 00 00 11
			15 00 02 D1 11
			15 00 02 55 B0 // 80 90 b0
			39 00 06 FF 77 01 00 00 10
			39 00 03 C0 63 00
			39 00 03 C1 09 02
			39 00 03 C2 37 08
			15 00 02 C7 00 // x-dir rotate 0:0x00,rotate 180:0x04
			15 00 02 CC 38
			39 00 11 B0 00 11 19 0C 10 06 07 0A 09 22 04 10 0E 28 30 1C
			39 00 11 B1 00 12 19 0D 10 04 06 07 08 23 04 12 11 28 30 1C
			39 00 06 FF 77 01 00 00 11 // enable  bk fun of  command 2  BK1
			15 00 02 B0 4D
			15 00 02 B1 60 // 0x56  0x4a  0x5b
			15 00 02 B2 07
			15 00 02 B3 80
			15 00 02 B5 47
			15 00 02 B7 8A
			15 00 02 B8 21
			15 00 02 C1 78
			15 00 02 C2 78
			15 64 02 D0 88
			39 00 04 E0 00 00 02
			39 00 0C E1 01 A0 03 A0 02 A0 04 A0 00 44 44
			39 00 0D E2 00 00 00 00 00 00 00 00 00 00 00 00
			39 00 05 E3 00 00 33 33
			39 00 03 E4 44 44
			39 00 11 E5 01 26 A0 A0 03 28 A0 A0 05 2A A0 A0 07 2C A0 A0
			39 00 05 E6 00 00 33 33
			39 00 03 E7 44 44
			39 00 11 E8 02 26 A0 A0 04 28 A0 A0 06 2A A0 A0 08 2C A0 A0
			39 00 08 EB 00 01 E4 E4 44 00 40
			39 00 11 ED FF F7 65 4F 0B A1 CF FF FF FC 1A B0 F4 56 7F FF
			39 00 06 FF 77 01 00 00 00
			15 00 02 36 00 //U&D  Y-DIR rotate 0:0x00,rotate 180:0x10
			15 00 02 3A 55
			05 78 01 11
			05 14 01 29
		];

		panel-exit-sequence = [
			05 00 01 28
			05 00 01 10
		];

		disp_timings1: display-timings {
			native-mode = <&dsi1_timing0>;
			dsi1_timing0: timing0 {
				clock-frequency = <27000000>;
				hactive = <480>;       //与 LCDTiming.LCDH 对应
				vactive = <800>;       //与 LCDTiming.LCDV 对应
				hfront-porch = <32>;   //与 LCDTiming.HFPD 对应
				hsync-len = <4>;       //与 LCDTiming.HSPW 对应
				hback-porch = <32>;    //与 LCDTiming.HBPD 对应
				vfront-porch = <9>;    //与 LCDTiming.VEPD 对应
				vsync-len = <4>;       //与 LCDTiming.VsPW 对应
				vback-porch = <3>;     //与 LCDTiming.VBPD 对应
				hsync-active = <0>;
				vsync-active = <0>;
				de-active = <0>;
				pixelclk-active = <0>;
			};
		};

		ports {
			#address-cells = <1>;
			#size-cells = <0>;

			port@0 {
				reg = <0>;
				panel_in_dsi1: endpoint {
					remote-endpoint = <&dsi1_out_panel>;
				};
			};
		};
	};

	ports {
		#address-cells = <1>;
		#size-cells = <0>;

		port@1 {
			reg = <1>;
			dsi1_out_panel: endpoint {
				remote-endpoint = <&panel_in_dsi1>;
			};
		};
	};

};
